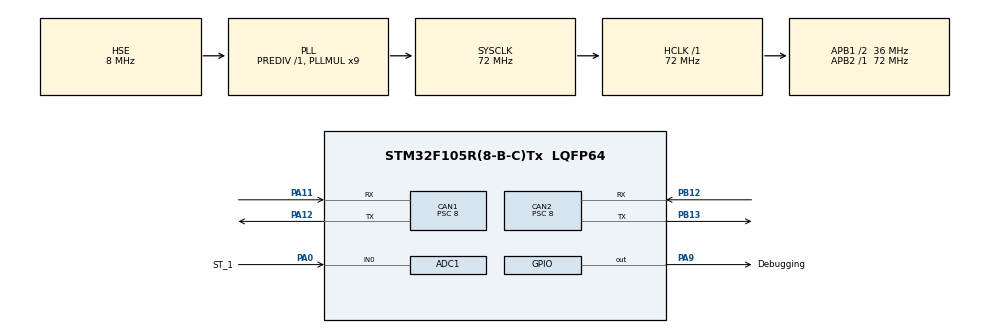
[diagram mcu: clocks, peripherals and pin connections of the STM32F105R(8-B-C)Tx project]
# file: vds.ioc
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ADC1.Channel-0\#ChannelRegularConversion=ADC_CHANNEL_0
ADC1.ContinuousConvMode=DISABLE
ADC1.DiscontinuousConvMode=DISABLE
ADC1.EnableAnalogWatchDog=false
ADC1.ExternalTrigConv=ADC_SOFTWARE_START
ADC1.NbrOfConversion=1
ADC1.NbrOfConversionFlag=1
ADC1.Rank-0\#ChannelRegularConversion=1
ADC1.SamplingTime-0\#ChannelRegularConversion=ADC_SAMPLETIME_1CYCLE_5
ADC1.master=1
CAN1.BS1=CAN_BS1_4TQ
CAN1.BS2=CAN_BS2_4TQ
CAN1.CalculateBaudRate=500000
CAN1.CalculateTimeBit=2000
CAN1.CalculateTimeQuantum=222.22222222222223
CAN1.Prescaler=8
CAN2.BS1=CAN_BS1_4TQ
CAN2.BS2=CAN_BS2_4TQ
CAN2.CalculateBaudRate=500000
CAN2.CalculateTimeBit=2000
CAN2.CalculateTimeQuantum=222.22222222222223
CAN2.Prescaler=8
IWDG.Prescaler=IWDG_PRESCALER_8
IWDG.Reload=3999
Mcu.Family=STM32F1
Mcu.Name=STM32F105R(8-B-C)Tx
Mcu.Package=LQFP64
NVIC.ADC1_2_IRQn=true\:0\:0\:false\:false\:true\:true\:true\:true
NVIC.PriorityGroup=NVIC_PRIORITYGROUP_4
NVIC.TIM3_IRQn=true\:0\:0\:false\:false\:true\:true\:true\:true
PA0-WKUP.GPIO_Label=ST_1
PA0-WKUP.Signal=ADCx_IN0
PA11.Mode=CAN_Activate
PA11.Signal=CAN1_RX
PA12.Mode=CAN_Activate
PA12.Signal=CAN1_TX
PA13.Mode=Serial_Wire
PA13.Signal=SYS_JTMS-SWDIO
PA14.Mode=Serial_Wire
PA14.Signal=SYS_JTCK-SWCLK
PA9.GPIO_Label=Debugging
PA9.Signal=GPIO_Output
PB12.Mode=CAN_Activate
PB12.Signal=CAN2_RX
PB13.Mode=CAN_Activate
PB13.Signal=CAN2_TX
PC14-OSC32_IN.Mode=LSE-External-Oscillator
PC14-OSC32_IN.Signal=RCC_OSC32_IN
PC15-OSC32_OUT.Mode=LSE-External-Oscillator
PC15-OSC32_OUT.Signal=RCC_OSC32_OUT
PD0-OSC_IN.Mode=HSE-External-Oscillator
PD0-OSC_IN.Signal=RCC_OSC_IN
PD1-OSC_OUT.Mode=HSE-External-Oscillator
PD1-OSC_OUT.Signal=RCC_OSC_OUT
ProjectManager.HeapSize=0x200
ProjectManager.StackSize=0x400
ProjectManager.TargetToolchain=STM32CubeIDE
RCC.ADCPresc=RCC_ADCPCLK2_DIV6
RCC.AHBFreq_Value=72000000
RCC.APB1CLKDivider=RCC_HCLK_DIV2
RCC.APB1Freq_Value=36000000
RCC.APB1TimFreq_Value=72000000
RCC.APB2Freq_Value=72000000
RCC.APB2TimFreq_Value=72000000
RCC.HCLKFreq_Value=72000000
RCC.PLLMUL=RCC_PLL_MUL9
RCC.PLLSourceVirtual=RCC_PLLSOURCE_HSE
RCC.SYSCLKFreq_VALUE=72000000
RCC.SYSCLKSource=RCC_SYSCLKSOURCE_PLLCLK
RCC.USBFreq_Value=48000000
SH.ADCx_IN0.0=ADC1_IN0,IN0
TIM3.Period=20000-1
TIM3.Prescaler=3600-1
TIM3.TIM_MasterOutputTrigger=TIM_TRGO_UPDATE
VP_IWDG_VS_IWDG.Mode=IWDG_Activate
VP_TIM3_VS_ClockSourceINT.Mode=Internal
board=custom

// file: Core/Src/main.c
/* USER CODE BEGIN Header */
/**
 ******************************************************************************
 * @file           : main.c
 * @brief          : Main program body
 ******************************************************************************
 * @attention
 *
 * Copyright (c) 2024 STMicroelectronics.
 * All rights reserved.
 *
 * This software is licensed under terms that can be found in the LICENSE file
 * in the root directory of this software component.
 * If no LICENSE file comes with this software, it is provided AS-IS.
 *
 ******************************************************************************
 */
/* USER CODE END Header */
#include "main.h"
#include "adc.h"
#include "can.h"
#include "iwdg.h"
#include "tim.h"
#include "gpio.h"

/* USER CODE BEGIN Includes */
#include "common.h"

/* USER CODE END Includes */

/* USER CODE BEGIN PV */
volatile uint16_t adc1_buf[ADC1_BUF_LENGTH] = {0}; // Initialize ADC buffer
VDS_Data_t vds_data = {0};                         // Initialize VDS data structure

uint32_t brake_steering_counter = 0;
uint32_t shock_travel_counter = 0;
uint32_t diagnostic_counter = 0;
// Initialise global variables for the VDS data structure and ADC readings
volatile int ADC1_DMA_in_process_flag = 0; // flag that indicates the DMA interrupt if ADC1 has been called and is in process
volatile int ADC1_DMA_fault_flag = 0;      // flag that indicates the DMA interrupt if ADC1 has been called and is at fault
volatile int CAN1_DMA_busy_flag = 0;
volatile int CAN2_DMA_busy_flag = 0;
// keeping track of averages
float sum[NUM_ADC_CHANNELS_USED] = {0.0};
uint32_t counters[NUM_ADC_CHANNELS_USED] = {0};
volatile VDS_ADC_AVERAGES adc_averages = {0};
volatile int count = 0;

/* USER CODE END PV */

void SystemClock_Config(void);
/* USER CODE BEGIN PFP */
void averageADCValues(int adc_half);
void processCANMessages(void);
void convertADCValue(void);

/* USER CODE END PFP */

/* USER CODE BEGIN 0 */
void HAL_ADC_LevelOutOfWindowCallback(ADC_HandleTypeDef *hadc)
{ // Analog watchdog
  /*TODO: Implement error handling here */
  if (hadc == &hadc1)
  {
    ADC1_setFaultStatus(1);
    // Stop ADC before restarting it to avoid continuous interrupts
    HAL_ADC_Stop(hadc);

    // Restart ADC in interrupt mode
    if (HAL_ADC_Start_IT(hadc) != HAL_OK)
    {
      /* TODO: diagnostic message api here */
    }

    // Reset the watchdog timer
    HAL_IWDG_Refresh(&hiwdg);
  }
}

/*============================================================================*/
/* GPIO INTERRUPT CALLBACKS */
void HAL_GPIO_EXTI_Callback(uint16_t GPIO_Pin)
{
  /*TODO: Implement error handling here */
  ADC1_setFaultStatus(1);
}
/* USER CODE END 0 */

int main(void)
{

  /* USER CODE BEGIN 1 */
  //  HAL_Delay(100); // Delay for 100ms to allow peripherals to initialize

  /* USER CODE END 1 */

  /* MCU Configuration--------------------------------------------------------*/

  /* Reset of all peripherals, Initializes the Flash interface and the Systick. */
  HAL_Init();

  /* USER CODE BEGIN Init */
  vds_data.status.raw = 0;
  vds_data.adc_data.ADC_brake_pressure_1 = 0;
  vds_data.adc_data.ADC_brake_pressure_2 = 0;
  vds_data.adc_data.ADC_brake_pressure_3 = 0;
  vds_data.adc_data.ADC_shock_travel_1 = 0;
  vds_data.adc_data.ADC_shock_travel_2 = 0;
  vds_data.adc_data.ADC_shock_travel_3 = 0;
  vds_data.adc_data.ADC_shock_travel_4 = 0;
  vds_data.adc_data.ADC_steering_angle = 0;
  vds_data.status.bits.adc_fault = 0;

  /* USER CODE END Init */

  /* Configure the system clock */
  SystemClock_Config();

  /* Initialize all configured peripherals */
  MX_GPIO_Init();
  MX_CAN1_Init();
  MX_CAN2_Init();
  MX_ADC1_Init();
  MX_TIM3_Init();
  MX_IWDG_Init();
  /* USER CODE BEGIN 2 */
  HAL_CAN_Start(&hcan1);
  HAL_CAN_Start(&hcan2);
  //HAL_ADC_Start_IT(&hadc1);
  HAL_ADC_Start(&hadc1);
  //HAL_ADC_Start_DMA(&hadc1, (uint32_t *)adc1_buf, ADC1_BUF_LENGTH); // Start ADC1 in DMA mode
  HAL_TIM_Base_Start_IT(&htim3);

  /* USER CODE END 2 */

  /* Infinite loop */
  /* USER CODE BEGIN WHILE */
  while (1)
  {
    ADC_Select((uint8_t)BP_1);
    HAL_ADC_PollForConversion(&hadc1, 1000);
    vds_data.adc_data.ADC_brake_pressure_1 = HAL_ADC_GetValue(&hadc1);
    adc_averages.counter.ADC_brake_pressure_1++;
    HAL_ADC_Stop(&hadc1);

    ADC_Select((uint8_t)BP_2);
    HAL_ADC_PollForConversion(&hadc1, 1000);
    vds_data.adc_data.ADC_brake_pressure_2 = HAL_ADC_GetValue(&hadc1);
    adc_averages.counter.ADC_brake_pressure_2++;
    HAL_ADC_Stop(&hadc1);

    ADC_Select((uint8_t)BP_3);
    HAL_ADC_PollForConversion(&hadc1, 1000);
    vds_data.adc_data.ADC_brake_pressure_3 = HAL_ADC_GetValue(&hadc1);
    adc_averages.counter.ADC_brake_pressure_3++;
    HAL_ADC_Stop(&hadc1);

   #ifndef DEBUG
	  HAL_IWDG_Refresh(&hiwdg);
   #endif

//    ADC_Select((uint8_t)ST_1);
//    HAL_ADC_PollForConversion(&hadc1, 1000);
//    vds_data.adc_data.ADC_shock_travel_1 = HAL_ADC_GetValue(&hadc1);
//    HAL_ADC_Stop(&hadc1);
//
//    ADC_Select((uint8_t)ST_2);
//    HAL_ADC_PollForConversion(&hadc1, 1000);
//    vds_data.adc_data.ADC_shock_travel_2 = HAL_ADC_GetValue(&hadc1);
//    HAL_ADC_Stop(&hadc1);
//
//    ADC_Select((uint8_t)ST_3);
//    HAL_ADC_PollForConversion(&hadc1, 1000);
//    vds_data.adc_data.ADC_shock_travel_3 = HAL_ADC_GetValue(&hadc1);
//    HAL_ADC_Stop(&hadc1);
//
//    ADC_Select((uint8_t)ST_4);
//    HAL_ADC_PollForConversion(&hadc1, 1000);
//    vds_data.adc_data.ADC_shock_travel_4 = HAL_ADC_GetValue(&hadc1);
//    HAL_ADC_Stop(&hadc1);
//
//    ADC_Select((uint8_t)SA_1);
//    HAL_ADC_PollForConversion(&hadc1, 1000);
//    vds_data.adc_data.ADC_steering_angle = HAL_ADC_GetValue(&hadc1);
//    HAL_ADC_Stop(&hadc1);

    CAN_processMessages();
    /* USER CODE END WHILE */

  }
}

void SystemClock_Config(void)
{
  RCC_OscInitTypeDef RCC_OscInitStruct = {0};
  RCC_ClkInitTypeDef RCC_ClkInitStruct = {0};
  RCC_PeriphCLKInitTypeDef PeriphClkInit = {0};

  /** Initializes the RCC Oscillators according to the specified parameters
  * in the RCC_OscInitTypeDef structure.
  */
  RCC_OscInitStruct.OscillatorType = RCC_OSCILLATORTYPE_LSI|RCC_OSCILLATORTYPE_HSE;
  RCC_OscInitStruct.HSEState = RCC_HSE_ON;
  RCC_OscInitStruct.HSEPredivValue = RCC_HSE_PREDIV_DIV1;
  RCC_OscInitStruct.HSIState = RCC_HSI_ON;
  RCC_OscInitStruct.LSIState = RCC_LSI_ON;
  RCC_OscInitStruct.Prediv1Source = RCC_PREDIV1_SOURCE_HSE;
  RCC_OscInitStruct.PLL.PLLState = RCC_PLL_ON;
  RCC_OscInitStruct.PLL.PLLSource = RCC_PLLSOURCE_HSE;
  RCC_OscInitStruct.PLL.PLLMUL = RCC_PLL_MUL9;
  RCC_OscInitStruct.PLL2.PLL2State = RCC_PLL_NONE;
  if (HAL_RCC_OscConfig(&RCC_OscInitStruct) != HAL_OK)
  {
    Error_Handler();
  }

  /** Initializes the CPU, AHB and APB buses clocks
  */
  RCC_ClkInitStruct.ClockType = RCC_CLOCKTYPE_HCLK|RCC_CLOCKTYPE_SYSCLK
                              |RCC_CLOCKTYPE_PCLK1|RCC_CLOCKTYPE_PCLK2;
  RCC_ClkInitStruct.SYSCLKSource = RCC_SYSCLKSOURCE_PLLCLK;
  RCC_ClkInitStruct.AHBCLKDivider = RCC_SYSCLK_DIV1;
  RCC_ClkInitStruct.APB1CLKDivider = RCC_HCLK_DIV2;
  RCC_ClkInitStruct.APB2CLKDivider = RCC_HCLK_DIV1;

  if (HAL_RCC_ClockConfig(&RCC_ClkInitStruct, FLASH_LATENCY_2) != HAL_OK)
  {
    Error_Handler();
  }
  PeriphClkInit.PeriphClockSelection = RCC_PERIPHCLK_ADC;
  PeriphClkInit.AdcClockSelection = RCC_ADCPCLK2_DIV6;
  if (HAL_RCCEx_PeriphCLKConfig(&PeriphClkInit) != HAL_OK)
  {
    Error_Handler();
  }

  /** Configure the Systick interrupt time
  */
  __HAL_RCC_PLLI2S_ENABLE();
}

/* USER CODE BEGIN 4 */

/*
Notes on how to do conversion:
1: lower half of ADC
2: upper half of ADC

-pass which half needs to be processed as a parameter to processing methods
-convert raw ADC values to physical values
-assign physical values to the correct sensor in the VDS data structure
-handover the VDS data structure to the CAN module (to be handled by Diego)

*/

void HAL_ADC_ConvHalfCpltCallback(ADC_HandleTypeDef *hadc)
{

  HAL_GPIO_WritePin(Debugging_GPIO_Port, Debugging_Pin, 1);
  count++;
  if (hadc == &hadc1)
  {
    // Process ADC1 readings
    averageADCValues(0);
    //    CAN_processMessages();
  }

  brake_steering_counter++;
  shock_travel_counter++;
  diagnostic_counter++;

  HAL_GPIO_WritePin(Debugging_GPIO_Port, Debugging_Pin, 0);
}

// Conversion full complete DMA interrupt callback for ADCs
void HAL_ADC_ConvCpltCallback(ADC_HandleTypeDef *hadc)
{
  if (hadc == &hadc1)
  {
    averageADCValues(1);
    //    CAN_processMessages();
  }

  brake_steering_counter++;
  shock_travel_counter++;
  diagnostic_counter++;
}

void averageADCValues(int adc_half)
{ // TODO: Modify this function to process and save ADC1 readings for VDS

  if (!ADC1_getBusyStatus())
  {
    ADC1_setBusyStatus(1);
    static float result[NUM_ADC_CHANNELS_TOTAL];         // stores averaged results
    ADC1_processRawReadings(adc_half, adc1_buf, result); // function to process values from ADC1 and update vds struct
    ADC1_setBusyStatus(0);
  }
  else
  {
    ADC1_setFaultStatus(1);
    HAL_Delay(1);               // Delay for 1ms
    averageADCValues(adc_half); // Retry
  }
}

// ADC error callback
void HAL_ADC_ErrorCallback(ADC_HandleTypeDef *hadc)
{
  if (hadc == &hadc1)
  {
    ADC1_setFaultStatus(1);
    //    HAL_Delay(1); // Delay for 1ms
    //    averageADCValues(0); // Retry with ADC half 0
    //    averageADCValues(1); // Retry with ADC half 1
  }
}

void HAL_TIM_PeriodElapsedCallback(TIM_HandleTypeDef *htim)
{
//  CAN_processMessages();
  //    HAL_GPIO_TogglePin(Debugging_GPIO_Port, Debugging_Pin);
}

/* USER CODE END 4 */

void Error_Handler(void)
{
  __disable_irq();
  while (1)
  {
  }
}
